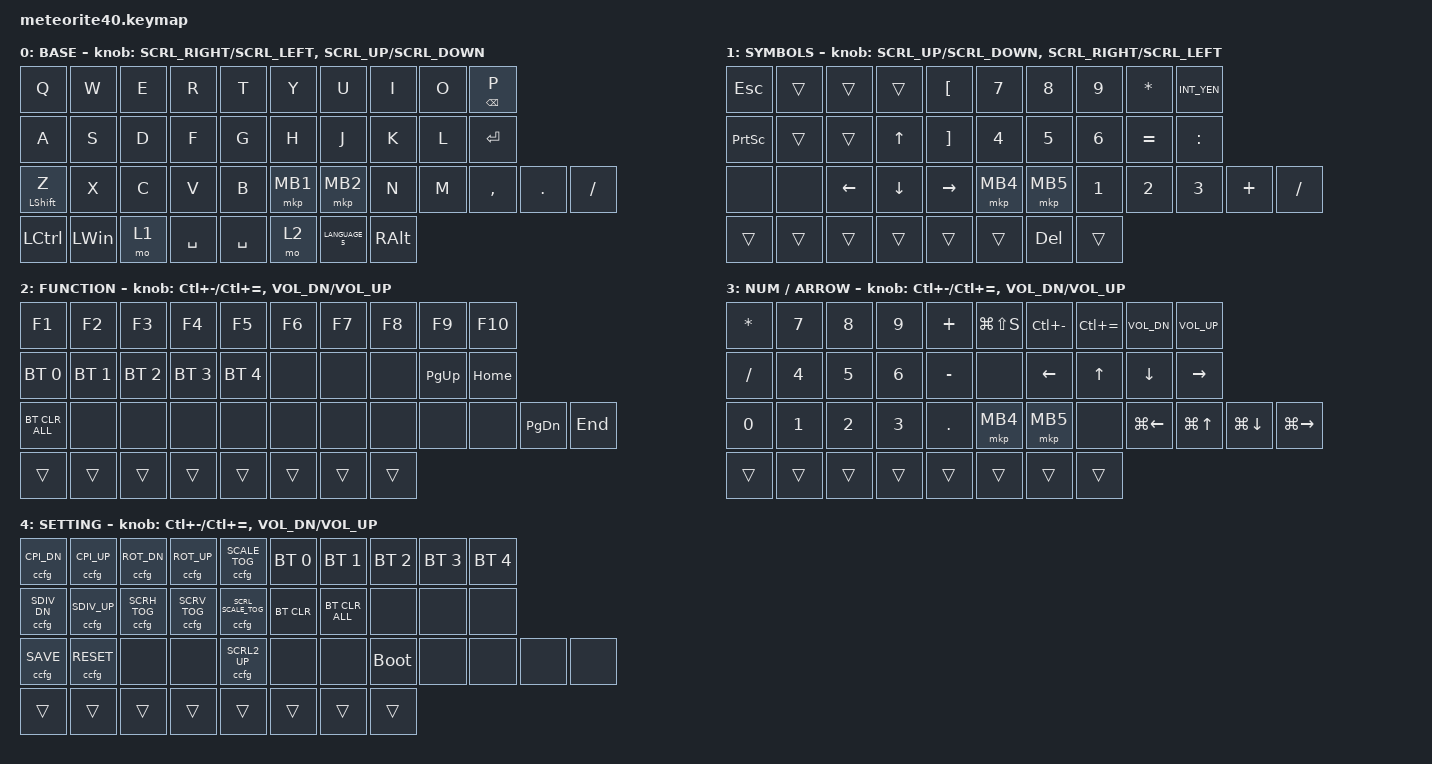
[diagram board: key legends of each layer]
#include <behaviors/meteorite_custom_key.dtsi>
#include <behaviors/custom_config.dtsi>
#include <behaviors/meteorite_bt_os.dtsi>
#include <behaviors/meteorite_mod_key.dtsi>
#include <behaviors/meteorite_os_key.dtsi>
#include <dt-bindings/zmk/custom_config.h>
#include <dt-bindings/zmk/meteorite_custom_keys.h>
#include <dt-bindings/zmk/meteorite_bt_os.h>

#define ZMK_POINTING_DEFAULT_SCRL_VAL 200

#include <behaviors.dtsi>
#include <dt-bindings/zmk/bt.h>
#include <dt-bindings/zmk/keys.h>
#include <dt-bindings/zmk/pointing.h>

&mt {
    flavor = "tap-preferred"; // change hold to tap
    tapping-term-ms = <200>;
    quick-tap-ms = <150>; // change 200 to 150
};

&lt {
    flavor = "tap-preferred";
    tapping-term-ms = <150>; // change 200 to 150
    quick-tap-ms = <150>; // change 200 to 150
};

/ {
    behaviors {
        mouse_scroll_var: mouse_scroll_var {
            compatible = "zmk,behavior-sensor-rotate-var";
            #sensor-binding-cells = <2>;
            bindings = <&msc>, <&msc>;

            tap-ms = <25>;
        };

        mck_mt: mck_mt {
            compatible = "zmk,behavior-hold-tap";
            #binding-cells = <2>;
            flavor = "tap-preferred";
            tapping-term-ms = <150>;
            bindings = <&mck>, <&kp>;

            display-name = "meteorite OS-Switch-mod-tap";
        };

        mck_mt_st: mck_mt_st {
            compatible = "zmk,behavior-hold-tap";
            #binding-cells = <2>;
            flavor = "tap-preferred";
            tapping-term-ms = <150>;
            bindings = <&mck>, <&alt_cmd_tab>;

            display-name = "meteorite OS-Switch-mod-tap (smart toggle)";
        };

        alt_cmd_tab: alt_cmd_tab {
            compatible = "zmk,behavior-smart-toggle";
            #binding-cells = <0>;
            display-name = "meteorite Smart toggle (Alt/Cmd+Tab)";
            bindings = <&mck M_OS_ALT_CMD>, <&kp TAB>;

            position-bindings = <12 13>; /* D, F */
            position-binding-behaviors = <&kp LS(TAB)>, <&kp TAB>;
        };
    };

    combos {
        compatible = "zmk,combos";

        lang1 {
            bindings = <&kp LANG1>;
            key-positions = <12 13>; /* D + F */
            layers = <0>;
        };

        lang2 {
            bindings = <&kp LANG2>;
            key-positions = <16 17>; /* J + K */
            layers = <0>;
        };

        esc {
            bindings = <&kp ESCAPE>;
            key-positions = <20 21>; /* Z + X */
            layers = <0>;
        };

        tab {
            bindings = <&kp TAB>;
            key-positions = <0 1>; /* Q + W */
            layers = <0>;
        };

        line_home {
            bindings = <&mosk HOME LG(LEFT)>;
            key-positions = <16 17>; /* J + K (on layer 2) */
            layers = <3>;
        };

        line_end {
            bindings = <&mosk END LG(RIGHT)>;
            key-positions = <18 19>; /* L + - (on layer 2) */
            layers = <3>;
        };

        doc_home {
            bindings = <&mosk LC(HOME) LG(UP)>;
            key-positions = <16 18>; /* J + L (on layer 2) */
            layers = <3>;
        };

        doc_end {
            bindings = <&mosk LC(END) LG(DOWN)>;
            key-positions = <17 19>; /* K + - (on layer 2) */
            layers = <3>;
        };
    };

    keymap {
        compatible = "zmk,keymap";
        layout = &LAYOUT_2U_SPACE;

        win_default_layer {
            display-name = "BASE";
            bindings = <
&kp Q        &kp W         &kp E  &kp R      &kp T      &kp Y     &kp U           &kp I     &kp O  &mt BACKSPACE P
&kp A        &kp S         &kp D  &kp F      &kp G      &kp H     &kp J           &kp K     &kp L  &kp ENTER
&mt LSHFT Z  &kp X         &kp C  &kp V      &kp B      &mkp MB1  &mkp MB2        &kp N     &kp M  &kp COMMA        &kp DOT  &kp SLASH
&kp LCTRL    &kp LEFT_WIN  &mo 1  &kp SPACE  &kp SPACE  &mo 2     &kp LANGUAGE_5  &kp RALT
            >;

            sensor-bindings =
                <&mouse_scroll_var SCRL_RIGHT SCRL_LEFT>,
                // RE0(左): 時計回/右スクロール、反時計回/左スクロール,,,,,,,,,,
                <&mouse_scroll_var SCRL_UP SCRL_DOWN>;

            // RE1(右): 時計回/上スクロール、反時計回/下スクロール
            //<&inc_dec_kp LC(MINUS) LC(EQUAL)>, // RE0: ctrl + - / +,,,
            //<&inc_dec_kp C_VOL_DN C_VOL_UP>; // RE1: volume down/up
        };

        layer_1 {
            display-name = "SYMBOLS";
            bindings = <
&kp ESCAPE       &trans  &trans    &trans        &kp LEFT_BRACKET   &kp NUMBER_7  &kp NUMBER_8  &kp NUMBER_9  &kp STAR      &kp INT_YEN
&kp PRINTSCREEN  &trans  &trans    &kp UP_ARROW  &kp RIGHT_BRACKET  &kp NUMBER_4  &kp NUMBER_5  &kp NUMBER_6  &kp EQUAL     &kp COLON
&none            &none   &kp LEFT  &kp DOWN      &kp RIGHT          &mkp MB4      &mkp MB5      &kp NUMBER_1  &kp NUMBER_2  &kp NUMBER_3  &kp PLUS  &kp SLASH
&trans           &trans  &trans    &trans        &trans             &trans        &kp DEL       &trans
            >;

            sensor-bindings =
                <&mouse_scroll_var SCRL_UP SCRL_DOWN>,
                // RE1(右): 時計回/上スクロール、反時計回/下スクロール,,,,,,,,,,
                <&mouse_scroll_var SCRL_RIGHT SCRL_LEFT>;

            // RE0(左): 時計回/右スクロール、反時計回/左スクロール
            //<&inc_dec_kp LC(MINUS) LC(EQUAL)>, // RE0: ctrl + - / +,,,
            //<&inc_dec_kp C_VOL_DN C_VOL_UP>; // RE1: volume down/up
        };

        layer_2 {
            display-name = "FUNCTION";
            bindings = <
&kp F1          &kp F2        &kp F3        &kp F4        &kp F5        &kp F6  &kp F7  &kp F8  &kp F9       &kp F10
&bt BT_SEL 0    &bt BT_SEL 1  &bt BT_SEL 2  &bt BT_SEL 3  &bt BT_SEL 4  &none   &none   &none   &kp PAGE_UP  &kp HOME
&bt BT_CLR_ALL  &none         &none         &none         &none         &none   &none   &none   &none        &none     &kp PAGE_DOWN  &kp END
&trans          &trans        &trans        &trans        &trans        &trans  &trans  &trans
            >;

            sensor-bindings =
                <&inc_dec_kp LC(MINUS) LC(EQUAL)>,
                // RE0: ctrl + - / +,,,,,,,,,,,,,
                <&inc_dec_kp C_VOL_DN C_VOL_UP>;

            // RE1: volume down/up
        };

        layer_3 {
            display-name = "NUM / ARROW";
            bindings = <
&kp ASTRK  &kp N7  &kp N8  &kp N9  &kp PLUS   &kp LG(LS(S))  &kp LC(MINUS)  &kp LC(EQUAL)  &kp C_VOL_DN  &kp C_VOL_UP
&kp SLASH  &kp N4  &kp N5  &kp N6  &kp MINUS  &none          &kp LEFT       &kp UP         &kp DOWN      &kp RIGHT
&kp N0     &kp N1  &kp N2  &kp N3  &kp DOT    &mkp MB4       &mkp MB5       &none          &kp LG(LEFT)  &kp LG(UP)    &kp LG(DOWN)  &kp LG(RIGHT)
&trans     &trans  &trans  &trans  &trans     &trans         &trans         &trans
            >;

            sensor-bindings =
                <&inc_dec_kp LC(MINUS) LC(EQUAL)>,
                // RE0: ctrl + - / +,,,,,,,,,,,,,
                <&inc_dec_kp C_VOL_DN C_VOL_UP>;

            // RE1: volume down/up
        };

        layer_4 {
            display-name = "SETTING";
            bindings = <
&ccfg C_CPI_DN   &ccfg C_CPI_UP   &ccfg C_ROT_DN    &ccfg C_ROT_UP    &ccfg C_SCALE_TOG       &bt BT_SEL 0  &bt BT_SEL 1    &bt BT_SEL 2  &bt BT_SEL 3  &bt BT_SEL 4
&ccfg C_SDIV_DN  &ccfg C_SDIV_UP  &ccfg C_SCRH_TOG  &ccfg C_SCRV_TOG  &ccfg C_SCRL_SCALE_TOG  &bt BT_CLR    &bt BT_CLR_ALL  &none         &none         &none
&ccfg C_SAVE     &ccfg C_RESET    &none             &none             &ccfg C_SCRL2_UP        &none         &none           &bootloader   &none         &none         &none  &none
&trans           &trans           &trans            &trans            &trans                  &trans        &trans          &trans
            >;

            sensor-bindings =
                <&inc_dec_kp LC(MINUS) LC(EQUAL)>,
                // RE0: ctrl + - / +,,,,,,,,,,,,,
                <&inc_dec_kp C_VOL_DN C_VOL_UP>;

            // RE1: volume down/up
        };
    };
};
